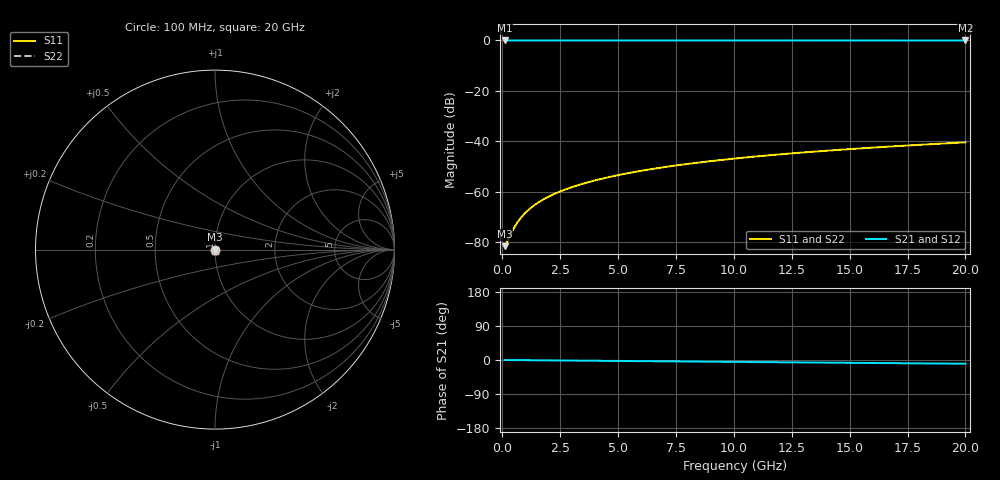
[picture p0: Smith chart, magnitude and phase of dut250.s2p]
! Touchstone file exported from HFSS 2026.1.0
!  File:  C:/ffzhzh/LocalFiles/Ansys_Project_Files/temp_train_TSV_250_1782992830_45328.aedt
!  Generated:  07:48:39 PM Jul  2, 2026
!  Design:  TSV
!  Project:  temp_train_TSV_250_1782992830_45328
! Variables:
!  h_bsmrdl = 2um
!  h_ox = 20um
!  h_rdl = 5um
!  h_sub = 99.62um
!  h_tmrdl = 5um
!  h_tsv = 99.62um
!  h_via = 3um
!  l_bsmrdl = 300um
!  l_sub = 429.92um
!  l_tmrdl = 200um
!  m_sub = 200um
!  pitch = 56.58um
!  r_tsv = 14.96um
!  s_tmrdl = 10um
!  w_bsmrdl = 18um
!  w_sub = 500um
!  w_tmrdl = 12um
!  x_tsv_center1 = 206um
!  x_tsv_center2 = 524um
!  x_tsv_center3 = 736um
!  x_tsv_center4 = 1054um
!  x_tsv_center5 = 1266um
!  x_tsv_center6 = 1584um
# GHz S MA R 50.000000
! Terminal data exported
! Port[1] = TSV1_1_T1
! Port[2] = TSV1_1_T2
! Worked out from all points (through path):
!   200 points, 100 MHz to 20 GHz, reference 50 ohm
!   highest |S21| = 0.00 dB at 100 MHz (marker M1); lowest = 0.0 dB at 20 GHz (marker M2)
!   group delay of S21, straight-line fit = 1.37 ps
!   lowest |S11| = -81.6 dB at 100 MHz (marker M3), VSWR 1.00, Z = 50 + j0.000211 ohm
!   |S11| at or under -10 dB: start of sweep to end of sweep
!   |S22| runs from -81.6 to -40.4 dB; largest |S21 - S12| = 2.4e-15
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0.1  8.326e-05 1.5  0.9999 -0.1  0.9999 -0.1  8.326e-05 1.5
! Gamma 0 0 0 0
! Port Impedance 50 0 50 0
0.2  0.0001003 -0.4  0.9999 -0.1  0.9999 -0.1  0.0001003 -0.4
0.4  0.0001557 -11.8  0.9998 -0.2  0.9998 -0.2  0.0001557 -11.8
0.5  0.0001897 -18.3  0.9998 -0.3  0.9998 -0.3  0.0001897 -18.3
0.6  0.0002262 -24.5  0.9998 -0.3  0.9998 -0.3  0.0002262 -24.5
0.8  0.0003035 -34.8  0.9997 -0.4  0.9997 -0.4  0.0003035 -34.8
1  0.0003838 -42.8  0.9997 -0.5  0.9997 -0.5  0.0003838 -42.8
1.3  0.0005068 -51.3  0.9997 -0.7  0.9997 -0.7  0.0005068 -51.3
1.7  0.000673 -58.8  0.9996 -0.9  0.9996 -0.9  0.000673 -58.8
2.2  0.0008839 -64.6  0.9996 -1.1  0.9996 -1.1  0.0008839 -64.6
2.8  0.001142 -69.1  0.9996 -1.4  0.9996 -1.4  0.001142 -69.1
3.5  0.00145 -72.4  0.9995 -1.7  0.9995 -1.7  0.00145 -72.4
4.2  0.001765 -74.8  0.9995 -2.1  0.9995 -2.1  0.001765 -74.8
5  0.002133 -76.9  0.9994 -2.5  0.9994 -2.5  0.002133 -76.9
5.9  0.002555 -78.7  0.9994 -2.9  0.9994 -2.9  0.002555 -78.7
6.8  0.002983 -80.3  0.9993 -3.4  0.9993 -3.4  0.002983 -80.3
8.3  0.003705 -82.5  0.9992 -4.1  0.9992 -4.1  0.003706 -82.5
10.1  0.004582 -84.7  0.9992 -5.0  0.9992 -5.0  0.004582 -84.7
11.7  0.005368 -86.3  0.9991 -5.8  0.9991 -5.8  0.005368 -86.3
13.4  0.006208 -87.9  0.999 -6.6  0.999 -6.6  0.006208 -87.9
16.7  0.007857 -90.6  0.9989 -8.3  0.9989 -8.3  0.007857 -90.6
20  0.009537 -92.9  0.9988 -9.9  0.9988 -9.9  0.009538 -92.9
